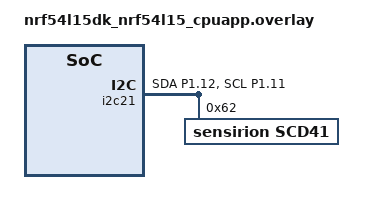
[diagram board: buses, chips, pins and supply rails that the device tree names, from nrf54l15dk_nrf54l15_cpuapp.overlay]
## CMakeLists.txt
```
# SPDX-License-Identifier: Apache-2.0

cmake_minimum_required(VERSION 3.20.0)
list(APPEND ZEPHYR_EXTRA_MODULES
  ${CMAKE_CURRENT_SOURCE_DIR}/modules/scd4x
)
find_package(Zephyr REQUIRED HINTS $ENV{ZEPHYR_BASE})
project(sensorflv)
target_sources(app PRIVATE src/main.c
                           src/sensor.c
                           src/storage_nvs.c
                           src/coap_client_utils.c)
                           
```

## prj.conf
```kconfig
# Allgemeine Systemkonfiguration
CONFIG_LOG=y
CONFIG_STDOUT_CONSOLE=y
CONFIG_FPU=y
CONFIG_POSIX_API=y
CONFIG_CRC=y
CONFIG_POWEROFF=y
CONFIG_PM_DEVICE=y
CONFIG_PM=y
CONFIG_PM_POLICY_CUSTOM=y
# CONFIG_NRF_GRTC_TIMER=y
# CONFIG_NRFX_GRTC=y

# Flash und Speicher
CONFIG_FLASH=y
CONFIG_NVS=y
CONFIG_PM_PARTITION_SIZE_SETTINGS_STORAGE=0x8000

# Netzwerk und Protokolle
CONFIG_NETWORKING=y
CONFIG_NET_SOCKETS=y
CONFIG_NET_SOCKETS_POLL_MAX=4
CONFIG_COAP=y
CONFIG_COAP_UTILS=y

# OpenThread Einstellungen
CONFIG_NET_L2_OPENTHREAD=y
CONFIG_OPENTHREAD_MTD=y
CONFIG_OPENTHREAD_NORDIC_LIBRARY_MTD=y
CONFIG_OPENTHREAD_MANUAL_START=n
CONFIG_OPENTHREAD_NETWORK_NAME="OpenThreadDemo"
CONFIG_OPENTHREAD_PANID=10000
CONFIG_OPENTHREAD_XPANID="11:11:11:11:22:22:22:22"
CONFIG_OPENTHREAD_NETWORKKEY="00:11:22:33:44:55:66:77:88:99:aa:bb:cc:dd:ee:ff"
CONFIG_OPENTHREAD_DNS_CLIENT=y

# Shell
CONFIG_SHELL=y
CONFIG_SHELL_ARGC_MAX=26
CONFIG_SHELL_CMD_BUFF_SIZE=416
CONFIG_OPENTHREAD_SHELL=y
CONFIG_SENSOR_SHELL=y

# Sensoren und Peripherie
CONFIG_I2C=y
CONFIG_SERIAL=y
CONFIG_SENSOR=y
CONFIG_SENSOR_LOG_LEVEL_DBG=y
CONFIG_SCD4X=y

# Weitere Bibliotheken und Tools
CONFIG_DK_LIBRARY=y
CONFIG_ZMS=y
CONFIG_SETTINGS_ZMS=y

# MBEDTLS
CONFIG_MBEDTLS_SHA1_C=n

# Disable the unsupported driver
CONFIG_NRFX_UARTE0=n

# Increase Main and shell stack sizes to avoid stack overflow
# while using CRACEN
CONFIG_MAIN_STACK_SIZE=10000
CONFIG_SHELL_STACK_SIZE=10000
CONFIG_OPENTHREAD_THREAD_STACK_SIZE= 10000
```

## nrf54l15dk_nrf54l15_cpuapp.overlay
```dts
/ {
    aliases {
        co2 = &scd41;
    };
};

&pinctrl {
    i2c21_default: i2c21_default {
        group1 {
            psels = <NRF_PSEL(TWIM_SDA, 1, 12)>, <NRF_PSEL(TWIM_SCL, 1, 11)>;
            bias-pull-up;
        };
    };

    i2c21_sleep: i2c21_sleep {
        group1 {
            psels = <NRF_PSEL(TWIM_SDA, 1, 12)>, <NRF_PSEL(TWIM_SCL, 1, 11)>;
            low-power-enable;
        };
    };
};

&i2c21 {
    compatible = "nordic,nrf-twim";
    status = "okay";
    pinctrl-0 = <&i2c21_default>;
    pinctrl-1 = <&i2c21_sleep>;
    pinctrl-names = "default", "sleep";

    scd41: scd41@62 {
        compatible = "sensirion,scd41";
        status = "okay";
        reg = <0x62>;
        mode = <2>;
    };
};
```

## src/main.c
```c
#include <zephyr/kernel.h>
#include <zephyr/logging/log.h>
#include <zephyr/device.h>
#include <zephyr/pm/device.h>
#include <zephyr/sys/poweroff.h>
#include <zephyr/sys/util.h>
#include <zephyr/drivers/timer/nrf_grtc_timer.h>
#include <inttypes.h>
#include <stdio.h>
#include "sensor.h"
#include "coap_client_utils.h"
// Include NVS Storage
#include "storage_nvs.h"

#define DEEP_SLEEP_TIME_S 5

LOG_MODULE_REGISTER(MAIN);

const struct device *const cons = DEVICE_DT_GET(DT_CHOSEN(zephyr_console));

static void enter_sleep(void)
{
    int rc;
    rc = pm_device_action_run(cons, PM_DEVICE_ACTION_SUSPEND);
	if (rc < 0) {
		printf("Could not suspend console (%d)\n", rc);
		return;
	}
    int err = z_nrf_grtc_wakeup_prepare(DEEP_SLEEP_TIME_S * USEC_PER_SEC);
    if (err < 0)
    {
        LOG_ERR("Unable to prepare GRTC as a wake up source (err = %d).\n", err);
    }
    else
    {
        LOG_INF("Entering system off; wait %u seconds to restart\n", DEEP_SLEEP_TIME_S);
        sys_poweroff();
    }
    // LOG_INF("Prepared");
    // k_msleep(500);
    
}

int main(void)
{
    // while(1){
    // LOOP ACTIVE BECAUSE OF SLEEP MODE
    float co2, temper, hum;
    

    // LOG_INF("Initializing NVS");
    // if (IS_ENABLED(CONFIG_NVS))
    // {
    //     ret = storage_nvs_init();
    //     if (ret)
    //     {
    //         LOG_ERR("NVS Init failed (error: %d)", ret);
    //         return 0;
    //     }
    // }

    coap_client_utils_init();
    sensor_measure(&co2, &temper, &hum);
    LOG_INF("CO2: %f ppm", (double)co2);
    LOG_INF("Temperature: %f °C", (double)temper);
    LOG_INF("Humidity: %f RH", (double)hum);

    k_msleep(5000);
    coap_client_send_measured_data(&co2, &temper, &hum);

    k_msleep(5000);
    enter_sleep();
    
    // }

    return 0;
}
```

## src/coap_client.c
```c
#include <zephyr/kernel.h>
#include <dk_buttons_and_leds.h>
#include <zephyr/logging/log.h>
#include <ram_pwrdn.h>
#include <zephyr/device.h>
#include <zephyr/pm/device.h>
#include "coap_client_utils.h"
// Include NVS Storage
#include "storage_nvs.h"

LOG_MODULE_REGISTER(coap_client, CONFIG_COAP_CLIENT_LOG_LEVEL);

#define OT_CONNECTION_LED DK_LED1
#define BLE_CONNECTION_LED DK_LED2
#define MTD_SED_LED DK_LED3

static void on_ot_connect(struct k_work *item)
{
	ARG_UNUSED(item);

	dk_set_led_on(OT_CONNECTION_LED);
}

static void on_ot_disconnect(struct k_work *item)
{
	ARG_UNUSED(item);

	dk_set_led_off(OT_CONNECTION_LED);
}

static void on_mtd_mode_toggle(uint32_t med)
{
#if IS_ENABLED(CONFIG_PM_DEVICE)
	const struct device *cons = DEVICE_DT_GET(DT_CHOSEN(zephyr_console));

	if (!device_is_ready(cons))
	{
		return;
	}

	if (med)
	{
		pm_device_action_run(cons, PM_DEVICE_ACTION_RESUME);
	}
	else
	{
		pm_device_action_run(cons, PM_DEVICE_ACTION_SUSPEND);
	}
#endif
	dk_set_led(MTD_SED_LED, med);
}

static void on_button_changed(uint32_t button_state, uint32_t has_changed)
{
	uint32_t buttons = button_state & has_changed;

	if (buttons & DK_BTN1_MSK)
	{
		coap_client_toggle_one_light();
	}

	if (buttons & DK_BTN2_MSK)
	{
		// coap_client_toggle_mesh_lights();
	}

	if (buttons & DK_BTN3_MSK)
	{
		// coap_client_toggle_minimal_sleepy_end_device();
	}

	if (buttons & DK_BTN4_MSK)
	{
		// coap_client_send_provisioning_request();
	}
}

int main(void)
{
	int ret;

	LOG_INF("Initializing NVS");
	if (IS_ENABLED(CONFIG_NVS))
	{
		ret = storage_nvs_init();
		if (ret)
		{
			LOG_ERR("NVS Init failed (error: %d)", ret);
			return 0;
		}
	}

	LOG_INF("Start CoAP-client sample");

	// if (IS_ENABLED(CONFIG_RAM_POWER_DOWN_LIBRARY))
	// {
	// 	power_down_unused_ram();
	// }

	ret = dk_buttons_init(on_button_changed);
	if (ret)
	{
		LOG_ERR("Cannot init buttons (error: %d)", ret);
		return 0;
	}

	ret = dk_leds_init();
	if (ret)
	{
		LOG_ERR("Cannot init leds, (error: %d)", ret);
		return 0;
	}

	coap_client_utils_init(on_ot_connect, on_ot_disconnect, on_mtd_mode_toggle);

	return 0;
}
```

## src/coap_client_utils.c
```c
#include <zephyr/kernel.h>
#include <net/coap_utils.h>
#include <zephyr/logging/log.h>
#include <zephyr/net/openthread.h>
#include <zephyr/net/socket.h>
#include <openthread/thread.h>
#include <openthread/nat64.h>
#include <stdio.h>

#include "coap_client_utils.h"
// NVS Non Volatile Storage
#include "storage_nvs.h"

#define RESPONSE_POLL_PERIOD 100
#define COAP_CLIENT_WORKQ_STACK_SIZE 2048
#define COAP_CLIENT_WORKQ_PRIORITY 5

#define COAP_PORT 5683

LOG_MODULE_REGISTER(coap_client_utils);
K_THREAD_STACK_DEFINE(coap_client_workq_stack_area, COAP_CLIENT_WORKQ_STACK_SIZE);

// static bool is_connected;
// static struct k_work_q coap_client_workq;
// static struct k_work send_work;
// static struct k_work toggle_MTD_SED_work;
// static struct k_work on_connect_work;
// static struct k_work on_disconnect_work;
static struct sockaddr_in6 rpi_addr = {
	.sin6_family = AF_INET6,
	.sin6_port = htons(COAP_PORT),
	.sin6_scope_id = 0U};
/* Options supported by the server */
static const char *const sensor_option[] = {"sensors", NULL};
mtd_mode_toggle_cb_t on_mtd_mode_toggle;

static float temp, hum;
static uint16_t co2;

void set_rpi_ipv6_from_ipv4(uint32_t ipv4_address)
{
	otError error;
	struct otIp4Address rpi_ip4_addr = {
		.mFields.m32 = ipv4_address};
	struct otIp6Address rpi_ip6_addr = {};

	// Hier nehmen wir an, dass der NAT64-Mechanismus für den aktuellen OpenThread-Stack aktiv ist
	error = otNat64SynthesizeIp6Address(openthread_get_default_instance(), &rpi_ip4_addr, &rpi_ip6_addr);
	memcpy(rpi_addr.sin6_addr.s6_addr, &rpi_ip6_addr.mFields, sizeof(rpi_addr.sin6_addr.s6_addr));

	if (error != OT_ERROR_NONE)
	{
		LOG_ERR("Failed to synthesize IPv6 address for IPv4");
	}
	else
	{
		LOG_INF("IPv6 address synthesized successful");
	}
	// storage_nvs_write((uint16_t)2, rpi_addr.sin6_addr.s6_addr, sizeof(rpi_addr.sin6_addr.s6_addr));
	return;
}

// static bool is_mtd_in_med_mode(otInstance *instance)
// {
// 	return otThreadGetLinkMode(instance).mRxOnWhenIdle;
// }

// static coap_reply_t rpi_response(const struct coap_packet *response, struct coap_reply *reply, const struct sockaddr *from)
// {
//     if (response == NULL) {
//         LOG_ERR("CoAP response is NULL");
//         return 1;
//     }

//     uint8_t *payload;
//     uint16_t payload_size = 0u;

//     payload = coap_packet_get_payload(response, &payload_size);

//     if (payload != NULL) {
//         LOG_INF("Received response payload: %.*s", payload_size, payload);
//     }

//     return 0;
// }

static void send_measured_data()
{
	char json_payload[128];
	snprintf(json_payload, sizeof(json_payload),
			 "{\"temp\":%u,\"hum\":%u,\"co2\":%u}",
			 (unsigned int)temp, (unsigned int)hum, (unsigned int)co2);

	// ARG_UNUSED(item);
	// if (storage_nvs_read((uint16_t)2, rpi_addr.sin6_addr.s6_addr, sizeof(rpi_addr.sin6_addr.s6_addr)) <= 0)
	// {
		// uint32_t rpi_ipv4 = 0xA0552485;  //ACHTUNG LITTLE ENDIAN UND BIG ENDIAN VERKEHRT
		uint32_t rpi_ipv4 = 0x852455A0;
		set_rpi_ipv6_from_ipv4(rpi_ipv4); // Synthetisiere die IPv6-Adresse
	// }

	LOG_INF("IPv6: %02x%02x:%02x%02x:%02x%02x:%02x%02x:%02x%02x:%02x%02x:%02x%02x:%02x%02x",
			rpi_addr.sin6_addr.s6_addr[0], rpi_addr.sin6_addr.s6_addr[1],
			rpi_addr.sin6_addr.s6_addr[2], rpi_addr.sin6_addr.s6_addr[3],
			rpi_addr.sin6_addr.s6_addr[4], rpi_addr.sin6_addr.s6_addr[5],
			rpi_addr.sin6_addr.s6_addr[6], rpi_addr.sin6_addr.s6_addr[7],
			rpi_addr.sin6_addr.s6_addr[8], rpi_addr.sin6_addr.s6_addr[9],
			rpi_addr.sin6_addr.s6_addr[10], rpi_addr.sin6_addr.s6_addr[11],
			rpi_addr.sin6_addr.s6_addr[12], rpi_addr.sin6_addr.s6_addr[13],
			rpi_addr.sin6_addr.s6_addr[14], rpi_addr.sin6_addr.s6_addr[15]);

	// coap_send_request(COAP_METHOD_POST, (const struct sockaddr *)&rpi_addr, sensor_option, &payload, sizeof(payload), NULL);
	coap_send_request(COAP_METHOD_POST, (const struct sockaddr *)&rpi_addr, sensor_option, (uint8_t *)json_payload, strlen(json_payload), NULL);
	LOG_INF("COAP-Message sent");
	return;
}

static void toggle_minimal_sleepy_end_device(void)
{
	otError error;
	otLinkModeConfig mode;
	struct openthread_context *context = openthread_get_default_context();

	// __ASSERT_NO_MSG(context != NULL);

	openthread_api_mutex_lock(context);
	mode = otThreadGetLinkMode(context->instance);
	mode.mRxOnWhenIdle = !mode.mRxOnWhenIdle;
	error = otThreadSetLinkMode(context->instance, mode);
	openthread_api_mutex_unlock(context);

	if (error != OT_ERROR_NONE) {
		LOG_ERR("Failed to set MLE link mode configuration");
	} else {
		on_mtd_mode_toggle(mode.mRxOnWhenIdle);
	}
}

// static void update_device_state(void)
// {
// 	struct otInstance *instance = openthread_get_default_instance();
// 	otLinkModeConfig mode = otThreadGetLinkMode(instance);
// 	on_mtd_mode_toggle(mode.mRxOnWhenIdle);
// }

// static void on_thread_state_changed(otChangedFlags flags, struct openthread_context *ot_context,
// 									void *user_data)
// {
// 	if (flags & OT_CHANGED_THREAD_ROLE)
// 	{
// 		switch (otThreadGetDeviceRole(ot_context->instance))
// 		{
// 		case OT_DEVICE_ROLE_CHILD:
// 		case OT_DEVICE_ROLE_ROUTER:
// 		case OT_DEVICE_ROLE_LEADER:
// 			k_work_submit_to_queue(&coap_client_workq, &on_connect_work);
// 			is_connected = true;
// 			break;

// 		case OT_DEVICE_ROLE_DISABLED:
// 		case OT_DEVICE_ROLE_DETACHED:
// 		default:
// 			k_work_submit_to_queue(&coap_client_workq, &on_disconnect_work);
// 			is_connected = false;
// 			break;
// 		}
// 	}
// }
// static struct openthread_state_changed_cb ot_state_chaged_cb = {
// 	.state_changed_cb = on_thread_state_changed};

// static void submit_work_if_connected(struct k_work *work)
// {
// 	if (is_connected)
// 	{
// 		k_work_submit_to_queue(&coap_client_workq, work);
// 	}
// 	else
// 	{
// 		LOG_INF("Connection is broken");
// 	}
// }

void coap_client_utils_init()
{

	coap_init(AF_INET6, NULL);

	// if (storage_nvs_read((uint16_t)1, unique_local_addr.sin6_addr.s6_addr, sizeof(unique_local_addr.sin6_addr.s6_addr)) > 0)
	// {
	// 	LOG_INF("Stored IP has been loaded");
	// }

	// k_work_queue_init(&coap_client_workq);

	// k_work_queue_start(&coap_client_workq, coap_client_workq_stack_area,
	//    K_THREAD_STACK_SIZEOF(coap_client_workq_stack_area),
	//    COAP_CLIENT_WORKQ_PRIORITY, NULL);

	// k_work_init(&on_connect_work, on_connect);
	// k_work_init(&on_disconnect_work, on_disconnect);
	// k_work_init(&send_work, send_measured_data);

	// openthread_state_changed_cb_register(openthread_get_default_context(), &ot_state_chaged_cb);
	openthread_start(openthread_get_default_context());

	// if (IS_ENABLED(CONFIG_OPENTHREAD_MTD_SED)) {
	// 	k_work_init(&toggle_MTD_SED_work,
	// 		    toggle_minimal_sleepy_end_device);
	// 	update_device_state();
	// }
	return;
}

void coap_client_send_measured_data(float *rec_co2, float *rec_temp, float *rec_hum)
{
	co2 = *rec_co2;
	temp = *rec_temp;
	hum = *rec_hum;
	// submit_work_if_connected(&send_work);
	send_measured_data();
	// toggle_minimal_sleepy_end_device();
	LOG_INF("Return to main Program");
	return;
}

// void coap_client_toggle_minimal_sleepy_end_device(void)
// {
// 	if (IS_ENABLED(CONFIG_OPENTHREAD_MTD_SED)) {
// 		k_work_submit_to_queue(&coap_client_workq, &toggle_MTD_SED_work);
// 	}
// }
```

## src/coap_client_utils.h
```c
/**
 * @file
 * @defgroup coap_client_utils API for coap_client_* samples
 * @{
 */

/*
 * Copyright (c) 2020 Nordic Semiconductor ASA
 *
 * SPDX-License-Identifier: LicenseRef-Nordic-5-Clause
 */

#ifndef __COAP_CLIENT_UTILS_H__
#define __COAP_CLIENT_UTILS_H__

/** @brief Type indicates function called when OpenThread connection
 *         is established.
 *
 * @param[in] item pointer to work item.
 */
typedef void (*ot_connection_cb_t)(struct k_work *item);

/** @brief Type indicates function called when OpenThread connection is ended.
 *
 * @param[in] item pointer to work item.
 */
typedef void (*ot_disconnection_cb_t)(struct k_work *item);

/** @brief Type indicates function called when the MTD modes are toggled.
 *
 * @param[in] val 1 if the MTD is in MED mode
 *                0 if the MTD is in SED mode
 */
typedef void (*mtd_mode_toggle_cb_t)(uint32_t val);

/** @brief Initialize CoAP client utilities.
 */
// void coap_client_utils_init(ot_connection_cb_t on_connect,
// 			    ot_disconnection_cb_t on_disconnect,
// 			    mtd_mode_toggle_cb_t on_toggle);
void coap_client_utils_init();
				
/** @brief Toggle light on the CoAP server node.
 *
 * @note The CoAP server should be paired before to have an affect.
 */
void coap_client_send_measured_data(float *rec_co2, float *rec_temp, float *rec_hum);

// /** @brief Toggle lights on all CoAP servers in the network mesh.
//  */
// void coap_client_toggle_mesh_lights(void);

// /** @brief Request for the CoAP server address to pair.
//  *
//  * @note Enable paring on the CoAP server to get the address.
//  */
// void coap_client_send_provisioning_request(void);

// /** @brief Toggle SED to MED and MED to SED modes.
//  *
//  * @note Active when the device is working as Minimal Thread Device.
//  */
// void coap_client_toggle_minimal_sleepy_end_device(void);

#endif

/**
 * @}
 */
```

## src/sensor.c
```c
/*
 * Copyright (c) 2023, Vitrolife A/S
 *
 * SPDX-License-Identifier: Apache-2.0
 */

 #include <zephyr/kernel.h>
 #include <zephyr/drivers/sensor.h>
 #include <zephyr/drivers/i2c.h>
 #include <zephyr/logging/log.h>
 #include <zephyr/pm/device.h>
 #include <zephyr/device.h>
 
 LOG_MODULE_REGISTER(SENSOR);
 
 #define SENSOR_I2C_ADDR 0x62               // Ersetze mit der echten I2C-Adresse
 #define SENSOR_CMD_LEN 2
 
 const struct device *i2c_dev = DEVICE_DT_GET(DT_NODELABEL(i2c21)); // Passe dein I2C-Device an
 
 #define CRC8_POLYNOMIAL 0x31
 #define CRC8_INIT 0xff
 
 static uint8_t sensirion_common_generate_crc(const uint8_t *data, uint16_t count)
 {
     uint16_t current_byte;
     uint8_t crc = CRC8_INIT;
     uint8_t crc_bit;
     /* calculates 8-Bit checksum with given polynomial */
     for (current_byte = 0; current_byte < count; ++current_byte)
     {
         crc ^= (data[current_byte]);
         for (crc_bit = 8; crc_bit > 0; --crc_bit)
         {
             if (crc & 0x80)
                 crc = (crc << 1) ^ CRC8_POLYNOMIAL;
             else
                 crc = (crc << 1);
         }
     }
     return crc;
 }
 
 static void sensor_shut_down(void)
 {
     if (!device_is_ready(i2c_dev))
     {
         LOG_ERR("I2C device not ready");
         return;
     }
     uint8_t cmd[2] = {0x36, 0xe0};
     int ret = i2c_write(i2c_dev, cmd, sizeof(cmd), SENSOR_I2C_ADDR);
     if (ret < 0)
     {
         LOG_ERR("Failed to send shutdown message (err %d)", ret);
     }
     else
     {
         LOG_INF("Sensor shut down.");
         k_msleep(500); // Warte 500ms nach dem Befehl
     }
     return;
 }
 
 static void sensor_wake_up(void)
 {
     if (!device_is_ready(i2c_dev))
     {
         LOG_ERR("I2C device not ready");
         return;
     }
     uint8_t cmd[2] = {0x36, 0xf6};
     i2c_write(i2c_dev, cmd, sizeof(cmd), SENSOR_I2C_ADDR);
     k_msleep(30);
     int ret = i2c_write(i2c_dev, cmd, sizeof(cmd), SENSOR_I2C_ADDR);
     if (ret < 0)
     {
         LOG_ERR("Failed to send wakeup message (err %d)", ret);
     }
     else
     {
         LOG_INF("Sensor wakeup");
         k_msleep(500); // Warte 500ms nach dem Befehl
     }
     return;
 }
 
 static void sensor_singleshot(uint8_t *data)
 {
     while (!device_is_ready(i2c_dev))
     {
         LOG_ERR("I2C device not ready");
         k_msleep(50);
     }
     uint8_t cmd[2] = {0x21, 0x9d};
     int ret = i2c_write(i2c_dev, cmd, sizeof(cmd), SENSOR_I2C_ADDR);
     if (ret < 0)
     {
         LOG_ERR("Failed to send measure_single_shot  (err %d)", ret);
     }
     else
     {
         LOG_INF("Sensor measure_single_shot ");
         k_msleep(5000);
         uint8_t cmd[2] = {0xec, 0x05};
         int ret = i2c_write(i2c_dev, cmd, sizeof(cmd), SENSOR_I2C_ADDR);
         if (ret < 0)
         {
             LOG_ERR("Failed to send read_measurement  (err %d)", ret);
         }
         else
         {
             LOG_INF("Sensor read_measurement ");
             k_msleep(1);
             ret = i2c_read(i2c_dev, data, 9, SENSOR_I2C_ADDR);
             if (ret < 0)
             {
                 LOG_ERR("PPM not readed");
             }
         }
     }
     return;
 }
 // Hilfsfunktion, um drei Bytes zu einem 16-Bit-Wert zu konvertieren
 static uint16_t bytes_to_word(uint8_t msb, uint8_t lsb)
 {
     return (msb << 8) | lsb;
 }
 static void parse_sensor_data(uint8_t meas_data[9], float *co2, float *temperature, float *humidity)
 {
     uint16_t co2_raw = bytes_to_word(meas_data[0], meas_data[1]);
     uint16_t temp_raw = bytes_to_word(meas_data[3], meas_data[4]);
     uint16_t hum_raw = bytes_to_word(meas_data[6], meas_data[7]);
 
     // Umwandlung gemäß Formeln aus der Tabelle
     *co2 = (float)co2_raw; // direkt in ppm
     *temperature = -45 + 175 * ((float)temp_raw / 65535);
     *humidity = 100 * ((float)hum_raw / 65535);
     return;
 }
 void sensor_measure(float *co2, float *temperature, float *humidity)
 {
     // struct sensor_value co2, temperature, humidity;
     const struct device *const dev = DEVICE_DT_GET(DT_ALIAS(co2));
 
     while (!device_is_ready(dev))
     {
         LOG_ERR("Sensor %s is not ready", dev->name);
         k_msleep(50);
     }
 
     uint8_t meas_data[9];
     sensor_wake_up();
     sensor_singleshot(meas_data);
     // float co2, temperature, humidity;
 
     parse_sensor_data(meas_data, co2, temperature, humidity);
 
     sensor_shut_down();
     return;
 }
```

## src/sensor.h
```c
#ifndef SENSOR_H
#define SENSOR_H


/**
 * @brief Führt eine vollständige Messung durch.
 *
 * Diese Funktion weckt den Sensor auf, startet eine Messung, parst die
 * Rohdaten und speichert die berechneten CO2-, Temperatur- und Feuchtigkeitswerte.
 *
 * @param co2 Zeiger auf die Variable, in der der CO2-Wert gespeichert wird.
 * @param temperature Zeiger auf die Variable, in der der Temperaturwert gespeichert wird.
 * @param humidity Zeiger auf die Variable, in der der Feuchtigkeitswert gespeichert wird.
 */
void sensor_measure(float *co2, float *temperature, float *humidity);
#endif
```

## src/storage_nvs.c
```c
/*******************************************************************************
 *  _____       ______   ____
 * |_   _|     |  ____|/ ____|  Institute of Embedded Systems
 *   | |  _ __ | |__  | (___    Zurich University of Applied Sciences
 *   | | | '_ \|  __|  \___ \   8401 Winterthur, Switzerland
 *  _| |_| | | | |____ ____) |
 * |_____|_| |_|______|_____/
 *
 *******************************************************************************
  * Application to Store data in NVS
 *
 * 26.02.2025, wyssala1@students.zhaw.ch
 ******************************************************************************/
#include <zephyr/kernel.h>
#include <zephyr/sys/reboot.h>
#include <zephyr/device.h>
#include <string.h>
#include <zephyr/drivers/flash.h>
#include <zephyr/storage/flash_map.h>
#include <zephyr/fs/nvs.h>
#include <zephyr/logging/log.h>

#include "storage_nvs.h"

LOG_MODULE_REGISTER(storage_nvs, LOG_LEVEL_INF);

static struct nvs_fs fs;

#define NVS_PARTITION           storage_partition
#define NVS_PARTITION_DEVICE    FIXED_PARTITION_DEVICE(NVS_PARTITION)
#define NVS_PARTITION_OFFSET    FIXED_PARTITION_OFFSET(NVS_PARTITION)

#define ADDRESS_ID 1
#define KEY_ID 2
#define RBT_CNT_ID 3
#define STRING_ID 4
#define LONG_ID 5

static uint32_t reboot_counter = 0U;

/**
 * @brief Initialisiert das NVS-Subsystem.
 * @return 0 bei Erfolg, negativer Fehlercode bei Misserfolg.
 */
int storage_nvs_init(void) {
    int rc;
    struct flash_pages_info info;

    fs.flash_device = NVS_PARTITION_DEVICE;
    if (!device_is_ready(fs.flash_device)) {
        LOG_ERR("Flash device %s is not ready", fs.flash_device->name);
        return -ENODEV;
    }

    fs.offset = NVS_PARTITION_OFFSET;
    rc = flash_get_page_info_by_offs(fs.flash_device, fs.offset, &info);
    if (rc) {
        LOG_ERR("Unable to get page info, rc=%d", rc);
        return rc;
    }
    
    fs.sector_size = info.size;
    fs.sector_count = 3;

    rc = nvs_mount(&fs);
    if (rc) {
        LOG_ERR("NVS mount failed, rc=%d", rc);
        return rc;
    }

    LOG_INF("NVS successfully mounted");

    /* Lese den Reboot-Counter */
    rc = storage_nvs_read(RBT_CNT_ID, &reboot_counter, sizeof(reboot_counter));
    if (rc > 0) {
        LOG_INF("Reboot Counter: %u", reboot_counter);
    } else {
        LOG_INF("No Reboot Counter found, initializing it.");
        reboot_counter = 0;
        storage_nvs_write(RBT_CNT_ID, &reboot_counter, sizeof(reboot_counter));
    }

    return 0;
}

/**
 * @brief Speichert eine Variable im Flash.
 * @param id Eindeutige ID des Speicherobjekts.
 * @param data Pointer auf die zu speichernden Daten.
 * @param length Länge der zu speichernden Daten in Bytes.
 * @return 0 bei Erfolg, negativer Fehlercode bei Misserfolg.
 */
int storage_nvs_write(uint16_t id, const void *data, size_t length) {
    int rc = nvs_write(&fs, id, data, length);
    if (rc < 0) {
        LOG_ERR("NVS write failed: %d", rc);
    } else {
        LOG_INF("Stored %zu bytes under ID %u", length, id);
    }
    return rc;
}

/**
 * @brief Liest eine Variable aus dem Flash.
 * @param id Eindeutige ID des Speicherobjekts.
 * @param data Pointer auf den Speicher, in den die Daten gelesen werden.
 * @param length Maximale Länge der zu lesenden Daten.
 * @return Größe der gelesenen Daten bei Erfolg, negativer Fehlercode bei Misserfolg.
 */
int storage_nvs_read(uint16_t id, void *data, size_t length) {
    int rc = nvs_read(&fs, id, data, length);
    if (rc < 0) {
        LOG_ERR("NVS read failed: %d", rc);
    } else {
        LOG_INF("Read %d bytes from ID %u", rc, id);
    }
    return rc;
}

/**
 * @brief Löscht eine Variable aus dem Flash.
 * @param id Eindeutige ID des Speicherobjekts.
 * @return 0 bei Erfolg, negativer Fehlercode bei Misserfolg.
 */
int storage_nvs_delete(uint16_t id) {
    int rc = nvs_delete(&fs, id);
    if (rc < 0) {
        LOG_ERR("Failed to delete ID %u, rc=%d", id, rc);
    } else {
        LOG_INF("Deleted ID %u", id);
    }
    return rc;
}

/**
 * @brief Erhöht den Reboot-Counter und speichert ihn.
 */
void storage_nvs_increment_reboot_counter(void) {
    reboot_counter++;
    storage_nvs_write(RBT_CNT_ID, &reboot_counter, sizeof(reboot_counter));
    LOG_INF("Reboot Counter updated: %u", reboot_counter);
}
```

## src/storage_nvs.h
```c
#ifndef STORAGE_NVS_H
#define STORAGE_NVS_H

#include <zephyr/kernel.h>
#include <stdint.h>

/**
 * @brief Initialisiert das NVS-Subsystem.
 * @return 0 bei Erfolg, negativer Fehlercode bei Misserfolg.
 */
int storage_nvs_init(void);

/**
 * @brief Speichert eine Variable im Flash.
 * @param id Eindeutige ID des Speicherobjekts.
 * @param data Pointer auf die zu speichernden Daten.
 * @param length Länge der zu speichernden Daten in Bytes.
 * @return 0 bei Erfolg, negativer Fehlercode bei Misserfolg.
 */
int storage_nvs_write(uint16_t id, const void *data, size_t length);

/**
 * @brief Liest eine Variable aus dem Flash.
 * @param id Eindeutige ID des Speicherobjekts.
 * @param data Pointer auf den Speicher, in den die Daten gelesen werden.
 * @param length Maximale Länge der zu lesenden Daten.
 * @return Größe der gelesenen Daten bei Erfolg, negativer Fehlercode bei Misserfolg.
 */
int storage_nvs_read(uint16_t id, void *data, size_t length);

/**
 * @brief Löscht eine Variable aus dem Flash.
 * @param id Eindeutige ID des Speicherobjekts.
 * @return 0 bei Erfolg, negativer Fehlercode bei Misserfolg.
 */
int storage_nvs_delete(uint16_t id);

/**
 * @brief Erhöht den Reboot-Counter und speichert ihn.
 */
void storage_nvs_increment_reboot_counter(void);

#endif // STORAGE_NVS_H
```
